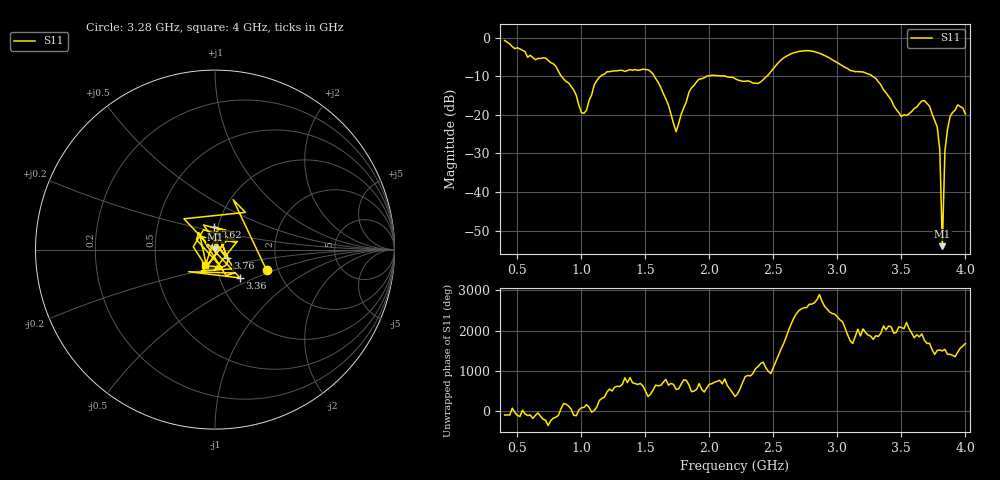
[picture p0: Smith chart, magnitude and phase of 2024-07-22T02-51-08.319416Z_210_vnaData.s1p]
!Created with skrf (http://scikit-rf.org).
# Hz S RI R 50.0
!freq ReS11 ImS11
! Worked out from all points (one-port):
!   181 points, 400 MHz to 4 GHz, reference 50 ohm
!   lowest |S11| = -54.0 dB at 3.82 GHz (marker M1), VSWR 1.00, Z = 50.1 + j0.157 ohm
!   |S11| at or under -10 dB: 1.569 GHz to 1.979 GHz (409.3 MHz wide, 23.1 % of centre); 2.125 GHz to 2.449 GHz (324.4 MHz wide, 14.2 % of centre); 3.273 GHz to end of sweep (the widest 3 of 4)
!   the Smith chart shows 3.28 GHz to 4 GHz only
!   S11 on the Smith chart (normalised r, x): 3.28 GHz: 1.74, -0.44; 3.36 GHz: 1.25, -0.41; 3.62 GHz: 0.96, +0.25; 3.76 GHz: 1.14, -0.11; 4 GHz: 0.88, -0.15
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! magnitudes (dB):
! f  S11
! 400 MHz  -0.8
! 720 MHz  -5.3
! 860 MHz  -10.7
! 1.02 GHz  -19.6
! 1.14 GHz  -10.3
! 1.3 GHz  -8.5
! 1.54 GHz  -8.8
! 1.74 GHz  -24.4
! 1.76 GHz  -22.3
! 1.84 GHz  -14.2
! 1.92 GHz  -10.8
! 2.2 GHz  -10.6
! 2.38 GHz  -11.9
! 2.66 GHz  -3.9
! 3.1 GHz  -8.5
! 3.28 GHz  -10.2
! 3.36 GHz  -13.5
! 3.5 GHz  -20.5
! 3.56 GHz  -19.8
! 3.62 GHz  -18.0
! 3.68 GHz  -16.4
! 3.76 GHz  -21.5
! 3.8 GHz  -29.1
! 3.82 GHz  -54.0
! 3.84 GHz  -29.4
! 3.86 GHz  -23.8
! 3.94 GHz  -17.4
! 4 GHz  -19.8
